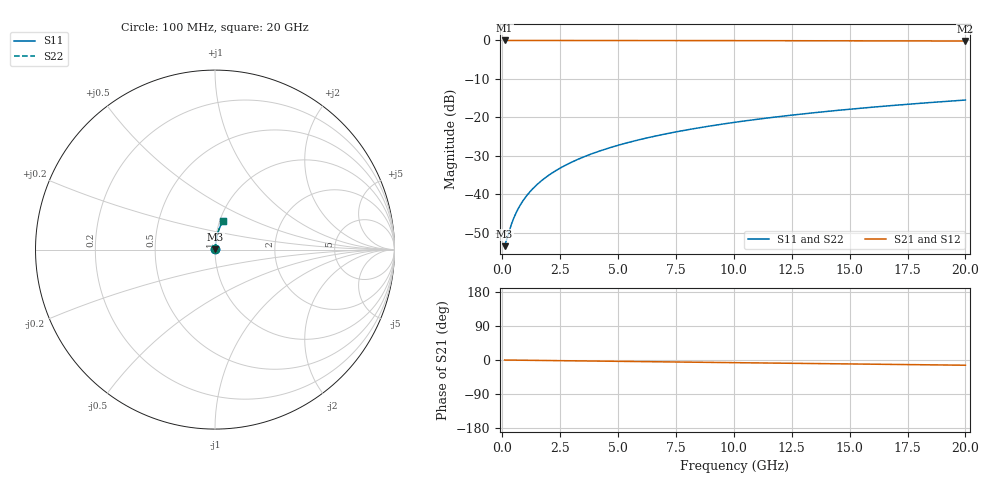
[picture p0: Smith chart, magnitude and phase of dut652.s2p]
! Touchstone file exported from HFSS 2026.1.0
!  File:  C:/ffzhzh/LocalFiles/Ansys_Project_Files/temp_train_TMRDL_652_1783009564_4048.aedt
!  Generated:  12:27:25 AM Jul  3, 2026
!  Design:  TMRDL
!  Project:  temp_train_TMRDL_652_1783009564_4048
! Variables:
!  h_bsmrdl = 2um
!  h_ox = 20um
!  h_rdl = 5um
!  h_sub = 80um
!  h_tmrdl = 2.23um
!  h_tsv = 80um
!  h_via = 3um
!  l_bsmrdl = 300um
!  l_sub = 542.9um
!  l_tmrdl = 142.9um
!  m_sub = 200um
!  pitch = 41.51um
!  r_tsv = 6um
!  s_tmrdl = 10um
!  w_bsmrdl = 18um
!  w_sub = 500um
!  w_tmrdl = 14.07um
!  x_tsv_center1 = 149.935um
!  x_tsv_center2 = 467.935um
!  x_tsv_center3 = 624.905um
!  x_tsv_center4 = 942.905um
!  x_tsv_center5 = 1099.875um
!  x_tsv_center6 = 1417.875um
# GHz S MA R 50.000000
! Terminal data exported
! Port[1] = TM_RDL1_1_T1
! Port[2] = TM_RDL1_1_T2
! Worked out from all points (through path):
!   200 points, 100 MHz to 20 GHz, reference 50 ohm
!   highest |S21| = -0.02 dB at 100 MHz (marker M1); lowest = -0.2 dB at 20 GHz (marker M2)
!   group delay of S21, straight-line fit = 1.92 ps
!   lowest |S11| = -53.4 dB at 100 MHz (marker M3), VSWR 1.00, Z = 50.2 + j0.092 ohm
!   |S11| at or under -10 dB: start of sweep to end of sweep
!   |S22| runs from -53.4 to -15.5 dB; largest |S21 - S12| = 2e-15
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0.1  0.00213 25.5  0.9981 -0.1  0.9981 -0.1  0.00213 25.5
! Gamma 0 0 0 0
! Port Impedance 50 0 50 0
0.3  0.003372 54.2  0.998 -0.2  0.998 -0.2  0.003372 54.2
0.4  0.004153 61.1  0.998 -0.3  0.998 -0.3  0.004153 61.1
0.5  0.004969 65.6  0.998 -0.4  0.998 -0.4  0.004969 65.6
0.6  0.005801 68.8  0.9979 -0.4  0.9979 -0.4  0.005801 68.8
0.7  0.006641 71.1  0.9979 -0.5  0.9979 -0.5  0.006641 71.1
0.9  0.00833 74.4  0.9978 -0.6  0.9978 -0.6  0.00833 74.4
1.2  0.01087 77.4  0.9977 -0.9  0.9977 -0.9  0.01087 77.4
1.4  0.01257 78.7  0.9977 -1.0  0.9977 -1.0  0.01257 78.7
1.7  0.01513 80.0  0.9976 -1.2  0.9976 -1.2  0.01513 80.0
2.2  0.01941 81.5  0.9975 -1.6  0.9975 -1.6  0.01941 81.5
2.8  0.02455 82.4  0.9973 -2.0  0.9973 -2.0  0.02455 82.4
3.5  0.03057 82.9  0.9971 -2.5  0.9971 -2.5  0.03057 82.9
4.2  0.03659 83.1  0.9968 -3.0  0.9968 -3.0  0.03659 83.1
5  0.04347 83.1  0.9965 -3.5  0.9965 -3.5  0.04347 83.1
5.9  0.05119 82.8  0.996 -4.1  0.996 -4.1  0.05119 82.8
6.8  0.05889 82.5  0.9955 -4.8  0.9955 -4.8  0.05889 82.5
8.3  0.07168 81.8  0.9945 -5.8  0.9945 -5.8  0.07168 81.8
10.1  0.08692 80.8  0.993 -7.1  0.993 -7.1  0.08692 80.8
13.4  0.1145 78.8  0.9898 -9.3  0.9898 -9.3  0.1145 78.8
16.7  0.1416 76.7  0.9858 -11.6  0.9858 -11.6  0.1416 76.7
20  0.1681 74.6  0.9811 -13.8  0.9811 -13.8  0.1681 74.6
